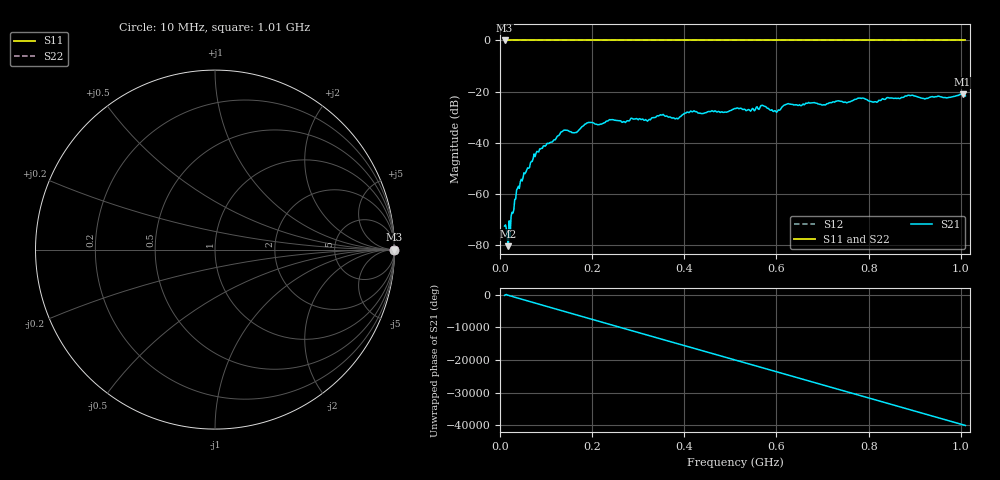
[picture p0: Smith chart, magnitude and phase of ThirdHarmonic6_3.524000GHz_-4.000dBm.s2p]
! 8/17/2025 11:33:53 AM
! C:\ANRITSUVNA\TEMP\TEMP.S2P
! CHANNEL.1
! TR.MEASUREMENT
! RAW.DATA
! RF.CORRECTION.OFF
! AVERAGING.OFF
! IF.BANDWIDTH: 5KHZ
! SWEEPTYPE:  FREQ.SWEEP(Linear)
! Reference Plane Port Info
! PORT:  PORT1  PORT2
! DISTANCE:  0  m  0  m
! TIME:  0  s  0  s
! PHASE.OFFSET:  0  deg.  0  deg.
! LOSS:  0  dB  0  dB
! REF.LOSS:  0  dB  0  dB
! REF.FREQ:  0  Hz  0  Hz
! Power Info
! POWER:  -20  dBm  -20  dBm
! EFF.POWER:  -20  dBm  -20  dBm
! SOURCE.ATTEN:  0  dB  0  dB
! TEST.ATTEN:  0  dB  0  dB
# GHZ S RI R 50.0
! FREQ.GHZ  S11RE  S11IM  S21RE  S21IM  S12RE  S12IM  S22RE  S22IM
!; PortSelection: Port_12
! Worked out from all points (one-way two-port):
!   501 points, 10 MHz to 1.01 GHz, reference 50 ohm
!   highest |S21| = -21.08 dB at 1.004 GHz (marker M1); lowest = -80.6 dB at 18 MHz (marker M2)
!   lowest |S11| = 0.0 dB at 10 MHz (marker M3)
!   |S11| at or under -10 dB: nowhere
!   |S22| runs from 0.0 to 0.0 dB; largest |S21 - S12| = 1.1
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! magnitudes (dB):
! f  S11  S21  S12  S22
! 10 MHz  0.0  -72.7  0.0  0.0
! 18 MHz  0.0  -80.6  0.0  0.0
! 40 MHz  0.0  -57.1  0.0  0.0
! 78 MHz  0.0  -44.3  0.0  0.0
! 136 MHz  0.0  -35.5  0.0  0.0
! 162 MHz  0.0  -36.2  0.0  0.0
! 178 MHz  0.0  -33.7  0.0  0.0
! 192 MHz  0.0  -32.1  0.0  0.0
! 322 MHz  0.0  -31.2  0.0  0.0
! 344 MHz  0.0  -29.6  0.0  0.0
! 384 MHz  0.0  -30.5  0.0  0.0
! 418 MHz  0.0  -28.0  0.0  0.0
! 510 MHz  0.0  -26.6  0.0  0.0
! 570 MHz  0.0  -25.4  0.0  0.0
! 598 MHz  0.0  -27.6  0.0  0.0
! 622 MHz  0.0  -25.0  0.0  0.0
! 678 MHz  0.0  -24.4  0.0  0.0
! 782 MHz  0.0  -22.6  0.0  0.0
! 814 MHz  0.0  -24.0  0.0  0.0
! 844 MHz  0.0  -22.5  0.0  0.0
! 1.004 GHz  0.0  -21.1  0.0  0.0
! 1.01 GHz  0.0  -21.7  0.0  0.0
